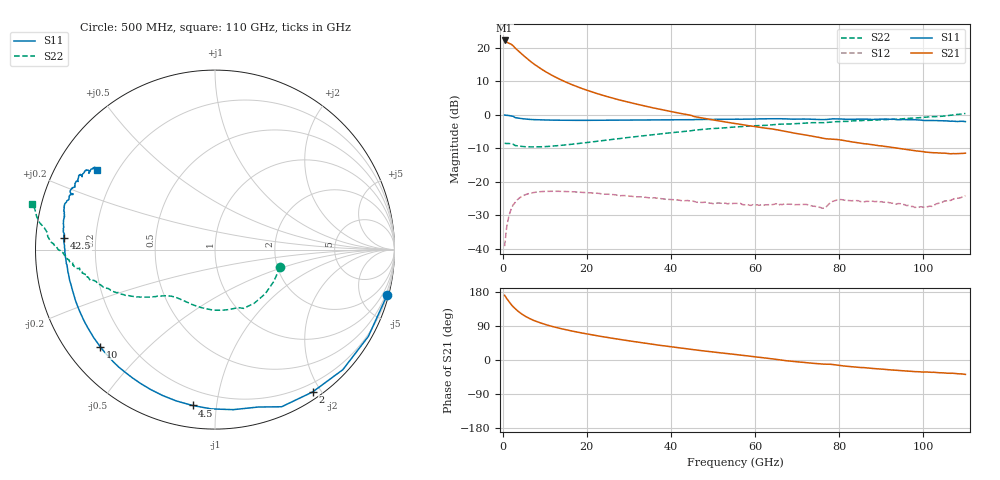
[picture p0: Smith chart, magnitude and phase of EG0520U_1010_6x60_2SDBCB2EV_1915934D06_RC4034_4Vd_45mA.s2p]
!File name = EG0520U_1010_6x60_2SDBCB2EV_1915934D06_RC4034_4Vd_45mA.s2p
!Base file name = EG0520U_1010_6x60_2SDBCB2EV_1915934D06_RC4034
!Date = 8/23/2019
!Time = 12:59 PM
!Test duration(min) = 0.15
!Test = S-Parameters
!MPTS version = 8.91.5
!State File = C:\Data\PNA\20190821205423\S-Parameters_2019-08-23.sta
!Cal File =
!ComputerName = CMPE-LAB-6
!Comments =
!Attenuation = 0
!Z0 = 50
!Input Power(dBm) = -13.00
!Device ID = EG0520U_1010_6x60_2SDBCB2EV
!Row = 40
!Column = 34
!Technology = QPHT09
!Lot/Wafer = 1915934D06
!Gate Size = 360
!Mask = EG0520
!Cal Standards = GaAs BCB
!Cal Kit = EG2306
!Job Number = 20190821205423
!Device Type = FET
!set_Vg(v) = -1.500
!set_Vd(v) = 4.000
!set_Vd(mA) = 45.000
!file_name = EG0520U_1010_6x60_2SDBCB2EV_1915934D06_RC4034_4Vd_45mA.s2p
!Vd(V) = 4.000
!Vd(mA) = 44.984
!Vg(V) = -0.507
!Vg(mA) = -0.004
# GHz  S  DB  R  50
!%	Freq(GHz)  s11(dB)  s11(deg)  s21(dB)  s21(deg)  s12(dB)  s12(deg)  s22(dB)  s22(deg)
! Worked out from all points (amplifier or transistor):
!   220 points, 500 MHz to 110 GHz, reference 50 ohm
!   highest |S21| = 22.2 dB at 500 MHz (marker M1)
!   |S21| within 3 dB of that: start of sweep to 3.657 GHz
!   unconditionally stable (mu >= 1): 30.97 GHz to 101.4 GHz
!   at 18.5 GHz: K = 0.57, MSG = 15.6 dB, |S12| = -23.1 dB
!   at 55.5 GHz: K = 1.59, MAG = 7.4 dB, |S12| = -26.5 dB
!   at 110 GHz: K = -1.96, MSG = 6.3 dB, |S12| = -24.2 dB
!   S11 on the Smith chart (normalised r, x): 500 MHz: 0.25, -7.62; 2 GHz: 0.09, -1.90; 4.5 GHz: 0.11, -0.86; 10 GHz: 0.10, -0.36; 42.5 GHz: 0.08, +0.04; 110 GHz: 0.13, +0.30
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0.5  -0.07 -14.9  22.23 170.8  -39.27 80.8  -8.51 -14.9
1  -0.16 -29.5  21.77 162.3  -33.49 73.3  -8.57 -28.3
1.5  -0.20 -43.2  21.40 154.7  -30.35 65.9  -8.57 -41.3
2  -0.34 -55.6  21.14 147.4  -28.35 59.1  -8.63 -53.9
2.5  -0.44 -67.0  20.67 140.9  -26.98 53.3  -8.78 -64.1
3  -0.82 -74.7  19.98 135.7  -26.18 48.9  -9.18 -68.3
3.5  -0.94 -83.5  19.41 130.6  -25.43 44.5  -9.28 -76.1
4.5  -1.14 -98.2  18.27 121.9  -24.45 37.1  -9.43 -89.2
5.5  -1.27 -109.8  17.16 114.9  -23.85 31.4  -9.55 -99.2
7  -1.41 -122.9  15.63 106.5  -23.34 25.0  -9.59 -110.1
8.5  -1.48 -132.4  14.29 99.9  -23.03 20.3  -9.59 -117.0
10  -1.54 -139.9  13.07 94.3  -22.90 16.4  -9.51 -122.6
13.5  -1.62 -152.1  10.69 83.8  -22.87 10.2  -9.18 -130.6
19  -1.66 -163.5  7.81 71.0  -23.18 4.4  -8.43 -137.2
26.5  -1.63 -172.8  4.87 56.7  -23.87 1.0  -7.28 -142.6
37  -1.52 179.0  1.75 39.4  -24.91 0.6  -5.76 -149.3
42.5  -1.47 175.5  0.37 31.3  -25.66 1.7  -5.07 -152.8
55.5  -1.32 168.2  -2.65 14.3  -26.47 7.3  -3.62 -161.8
73.5  -1.32 159.1  -6.38 -8.5  -27.25 6.0  -2.36 -171.1
92  -1.33 150.9  -9.64 -25.9  -26.29 -7.8  -1.38 -179.1
102  -1.70 147.8  -11.31 -32.5  -27.38 -0.8  -0.57 175.0
110  -2.02 145.8  -11.47 -38.0  -24.18 -6.2  0.42 165.9
